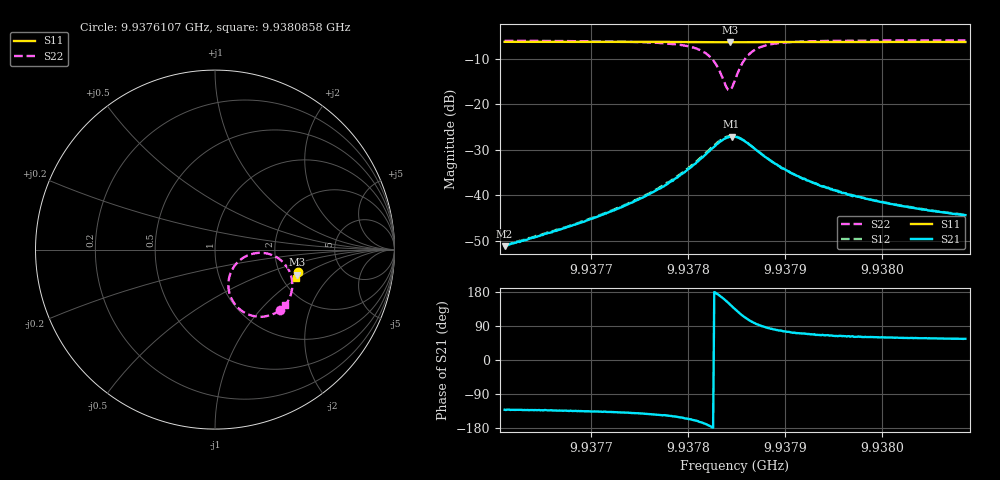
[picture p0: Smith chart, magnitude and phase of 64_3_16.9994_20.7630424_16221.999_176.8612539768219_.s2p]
#  HZ  S  RI  R  50.00
! Rohde & Schwarz Vector Network Analyzer
! Rohde-Schwarz,ZNB20-2Port,1311601062101988,3.16
! Created: UTC 3/20/2024, 10:54:57 PM
! freq[Hz]  re:S11  im:S11  re:S21  im:S21  re:S12  im:S12  re:S22  im:S22
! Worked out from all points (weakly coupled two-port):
!   401 points, 9.9376107 GHz to 9.9380858 GHz, reference 50 ohm
!   highest |S21| = -27.15 dB at 9.9378447 GHz (marker M1); lowest = -51.2 dB at 9.9376107 GHz (marker M2)
!   lowest |S11| = -6.5 dB at 9.9378435 GHz (marker M3), VSWR 2.82, Z = 122 - j44 ohm
!   |S11| at or under -10 dB: nowhere
!   |S22| runs from -17.0 to -6.0 dB; largest |S21 - S12| = 0.0027
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9.93761066e9  0.4651 -0.1264  -0.00181 -0.00207  -0.0019 -0.00209  0.3632 -0.3359
9.93769025e9  0.4632 -0.132  -0.00355 -0.00355  -0.00368 -0.0036  0.3434 -0.3493
9.93773421e9  0.4619 -0.135  -0.00572 -0.00501  -0.00593 -0.00504  0.3219 -0.3602
9.93776985e9  0.4607 -0.1376  -0.00956 -0.0068  -0.00989 -0.00677  0.2865 -0.3709
9.93779954e9  0.4592 -0.1399  -0.0173 -0.00816  -0.0178 -0.00795  0.2205 -0.3712
9.93781736e9  0.4575 -0.141  -0.0269 -0.00559  -0.0281 -0.00495  0.1426 -0.3363
9.93782568e9  0.4565 -0.1412  -0.0331 -0.000708  -0.0346 0.000456  0.0987 -0.2861
9.93783281e9  0.4555 -0.1408  -0.0379 0.0073  -0.0388 0.00911  0.0751 -0.2124
9.93783993e9  0.455 -0.1398  -0.0384 0.0187  -0.0383 0.0213  0.0925 -0.1177
9.9378435e9  0.4549 -0.1393  -0.0359 0.0249  -0.0354 0.0273  0.1228 -0.074
9.93784469e9  0.4552 -0.1391  -0.0349 0.0267  -0.0341 0.0291  0.1358 -0.0615
9.93784825e9  0.4554 -0.1388  -0.0305 0.0315  -0.0292 0.0335  0.1804 -0.033
9.93785419e9  0.4563 -0.1384  -0.0211 0.0356  -0.0196 0.037  0.26 -0.018
9.93785894e9  0.4572 -0.1386  -0.0142 0.0358  -0.0125 0.0366  0.3145 -0.0289
9.93786488e9  0.4577 -0.1389  -0.00732 0.034  -0.00593 0.0341  0.364 -0.057
9.93787082e9  0.4581 -0.1397  -0.00233 0.0308  -0.00135 0.0309  0.3949 -0.0887
9.93788151e9  0.4586 -0.1409  0.00215 0.0253  0.00296 0.0252  0.4216 -0.1398
9.93789577e9  0.4586 -0.1424  0.00422 0.0194  0.005 0.0196  0.4307 -0.1874
9.93792784e9  0.4582 -0.1452  0.00523 0.0128  0.00554 0.0127  0.4247 -0.2436
9.93796704e9  0.4572 -0.1482  0.00472 0.0087  0.00477 0.00891  0.4132 -0.2746
9.93800743e9  0.456 -0.1509  0.00409 0.00689  0.00428 0.00689  0.4039 -0.2915
9.93808583e9  0.454 -0.1564  0.00337 0.00499  0.00346 0.00496  0.3916 -0.3094
